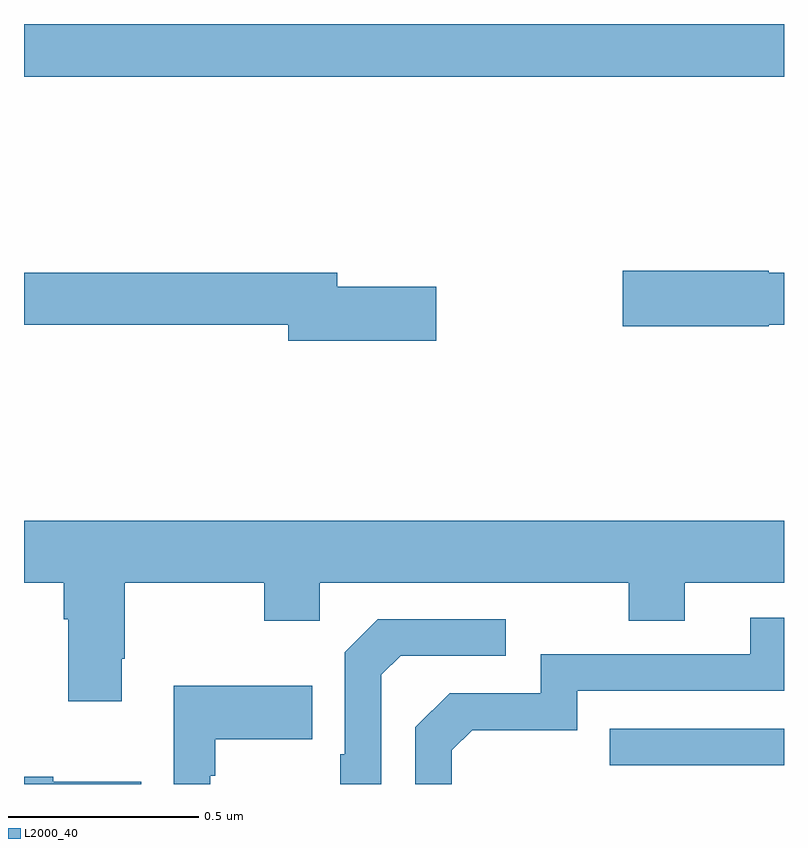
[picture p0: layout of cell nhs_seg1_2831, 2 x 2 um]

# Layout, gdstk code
import gdstk
lib = gdstk.Library(unit=1e-6, precision=1e-09)
def R(c, l, rs):  # rectangles x0, y0, x1, y1
    for r in rs: c.add(gdstk.rectangle(r[:2], r[2:], *l))
def P(c, l, *ps):  # polygons
    for p in ps: c.add(gdstk.Polygon(p, *l))
L2000_40 = (2000, 40)

nhs_seg1_2831 = lib.new_cell('nhs_seg1_2831')
R(nhs_seg1_2831, L2000_40, [(147.541,555.249,148,555.345), (146,557.06,148,557.199)])
P(nhs_seg1_2831, L2000_40, [(147.96,556.408),(148,556.408),(148,556.544),(147.96,556.544),(147.96,556.55),(147.576,556.55),(147.576,556.403),(147.96,556.403)],
  [(147.085,556.508),(146.824,556.508),(146.824,556.544),(146,556.544),(146,556.408),(146.696,556.408),(146.696,556.366),(147.085,556.366)],
  [(146.257,555.529),(146.265,555.529),(146.265,555.728),(146.632,555.728),(146.632,555.629),(146.778,555.629),(146.778,555.728),(147.592,555.728),(147.592,555.629),(147.739,555.629),(147.739,555.728),(148,555.728),(148,555.892),(146,555.892),(146,555.728),(146.105,555.728),(146.105,555.632),(146.117,555.632),(146.117,555.417),(146.257,555.417)],
  [(147.126,555.288),(147.179,555.341),(147.456,555.341),(147.456,555.444),(148,555.444),(148,555.636),(147.911,555.636),(147.911,555.54),(147.36,555.54),(147.36,555.438),(147.12,555.438),(147.03,555.348),(147.03,555.199),(147.126,555.199)],
  [(146.94,555.486),(146.991,555.537),(147.268,555.537),(147.268,555.633),(146.931,555.633),(146.844,555.546),(146.844,555.277),(146.832,555.277),(146.832,555.199),(146.94,555.199)],
  [(146.49,555.221),(146.503,555.221),(146.503,555.317),(146.759,555.317),(146.759,555.457),(146.394,555.457),(146.394,555.199),(146.49,555.199)],
  [(146.308,555.205),(146.077,555.205),(146.077,555.218),(146,555.218),(146,555.199),(146.308,555.199)])

lib.write_gds('nhs_seg1_2831.gds')
